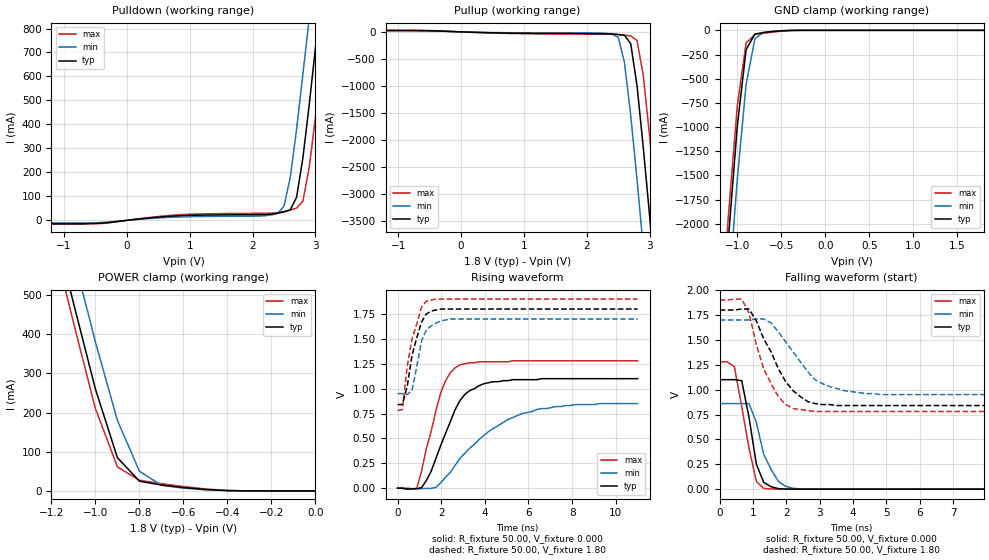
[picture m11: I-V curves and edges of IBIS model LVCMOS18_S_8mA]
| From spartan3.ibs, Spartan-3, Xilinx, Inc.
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|** Model LVCMOS18_S_8mA
[Model]   LVCMOS18_S_8mA
Model_type   I/O
Polarity   Non-Inverting
Enable   Active-Low
Vinl =   0.54V
Vinh =   1.26V
Vmeas =   0.90V
Cref =  0.000F
Rref =   1.00M
Vref =  0.000V
C_comp   6.38pF   4.60pF   8.23pF
[Temperature Range]   25.00   85.00   0.000
[Voltage Range]   1.80V   1.70V   1.90V
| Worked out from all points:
|   slope of the pulldown table from 0 to 0.27 V, typ, clamps not added: 34.7 ohm
|   slope of the pullup table from 0 to 0.27 V, typ, clamps not added: 26.1 ohm
|   GND clamp passes 1 mA (typ) near -0.38 V on its own axis
|   POWER clamp passes 1 mA (typ) near -0.41 V on its own axis
|   rising waveform, R_fixture 50.00, V_fixture 0.000: 20-80 % time 1.24ns typ, 2.54ns min, 915ps max; typ from 0 V to 1.1 V
|   rising waveform, R_fixture 50.00, V_fixture 1.80: 20-80 % time 566ps typ, 470ps min, 584ps max; typ from 0.84 V to 1.8 V
|   falling waveform, R_fixture 50.00, V_fixture 0.000: 20-80 % time 352ps typ, 511ps min, 429ps max; typ from 1.1 V to 0 V
|   falling waveform, R_fixture 50.00, V_fixture 1.80: 20-80 % time 897ps typ, 1.03ns min, 690ps max; typ from 1.8 V to 0.84 V
[Pulldown]
| voltage   I(typ)   I(min)   I(max)
-1.8V     -14.4mA    -11.11mA   -15.51mA
-400mV    -11.62mA   -8.96mA    -12.95mA
2.4V      29.74mA    29.21mA    31.96mA
2.5V      35.49mA    59.53mA    36.62mA
2.6V      44.24mA    180mA      43.17mA
2.7V      96.69mA    380mA      51.3mA
2.8V      260mA      610mA      79.94mA
2.9V      480mA      840mA      220mA
3V        720mA      1.09A      430mA
3.1V      960mA      1.34A      670mA
3.2V      1.21A      1.59A      910mA
3.6V      2.24A      2.62A      1.93A
[Pullup]
| voltage   I(typ)   I(min)   I(max)
-1.8V     25.46mA    18.72mA    29.49mA
-700mV    24.56mA    18.72mA    27.81mA
2.4V      -39.19mA   -38.11mA   -46.25mA
2.5V      -47.5mA    -100mA     -52.68mA
2.6V      -62.32mA   -570mA     -62.42mA
2.7V      -220mA     -1.55A     -75.3mA
2.8V      -1A        -2.74A     -160mA
2.9V      -2.15A     -4.01A     -810mA
3V        -3.41A     -5.33A     -1.93A
3.1V      -4.74A     -6.68A     -3.18A
3.2V      -6.09A     -8.04A     -4.51A
3.6V      -11.64A    -13.6A     -10.02A
[GND_clamp]
| voltage   I(typ)   I(min)   I(max)
-1.8V     -11.64A    -12.2A     -11.42A
-1.2V     -3.41A     -4.01A     -3.17A
-1.1V     -2.14A     -2.73A     -1.9A
-1V       -990mA     -1.54A     -780mA
-900mV    -200mA     -560mA     -130mA
-800mV    -38.28mA   -87.34mA   -44.15mA
-700mV    -22.51mA   -20.43mA   -30.18mA
-500mV    -5.32mA    -4.04mA    -8.92mA
-300mV    -110uA     -120uA     -320uA
1.8V      11.81nA    570nA      13.19nA
[POWER_clamp]
| voltage   I(typ)   I(min)   I(max)
-1.8V     2.23A      2.36A      2.19A
-1.2V     710mA      840mA      660mA
-1.1V     480mA      600mA      430mA
-1V       260mA      380mA      210mA
-900mV    84.79mA    180mA      61.18mA
-800mV    24.88mA    50.29mA    27.26mA
-700mV    15.03mA    14.55mA    18.43mA
-600mV    8.66mA     7.1mA      11.09mA
-400mV    790uA      730uA      1.23mA
0V        11.81nA    57.46nA    17.4nA
[Ramp]
| variable   typ   min   max
dV/dt_r   0.66/1.34n   0.51/2.61n   0.77/0.84n
dV/dt_f   0.58/0.82n   0.45/1.17n   0.67/0.65n
R_load = 50.00
[Rising Waveform]
R_fixture = 50.00
V_fixture = 0.000
| time   V(typ)   V(min)   V(max)
0s        0V         1.72uV     0V
880ps     -4.54mV    -8.08mV    -1.81mV
1.32ns    77.03mV    -2mV       400mV
1.98ns    430mV      55.11mV    960mV
2.42ns    670mV      160mV      1.16V
2.86ns    880mV      300mV      1.24V
3.96ns    1.05V      530mV      1.27V
5.72ns    1.09V      750mV      1.28V
8.14ns    1.1V       840mV      1.28V
11ns      1.1V       850mV      1.28V
[Rising Waveform]
R_fixture = 50.00
V_fixture = 1.80
V_fixture_min = 1.70
V_fixture_max = 1.90
| time   V(typ)   V(min)   V(max)
0s        840mV      950mV      780mV
220ps     840mV      950mV      790mV
440ps     1.02V      940mV      1.22V
660ps     1.33V      980mV      1.5V
880ps     1.51V      1.22V      1.65V
1.1ns     1.67V      1.48V      1.82V
1.32ns    1.75V      1.59V      1.88V
1.76ns    1.79V      1.66V      1.9V
2.42ns    1.8V       1.7V       1.9V
11ns      1.8V       1.7V       1.9V
[Falling Waveform]
R_fixture = 50.00
V_fixture = 0.000
| time   V(typ)   V(min)   V(max)
0s        1.1V       860mV      1.28V
220ps     1.1V       860mV      1.28V
440ps     1.1V       860mV      1.23V
660ps     1.09V      860mV      830mV
880ps     720mV      860mV      410mV
1.1ns     250mV      670mV      78.03mV
1.32ns    69.45mV    350mV      7.18mV
1.76ns    5.17mV     78.25mV    680uV
2.2ns     590uV      8.81mV     220uV
11ns      0V         1.51uV     190nV
[Falling Waveform]
R_fixture = 50.00
V_fixture = 1.80
V_fixture_min = 1.70
V_fixture_max = 1.90
| time   V(typ)   V(min)   V(max)
0s        1.8V       1.7V       1.9V
660ps     1.81V      1.7V       1.91V
880ps     1.81V      1.7V       1.77V
1.1ns     1.69V      1.71V      1.45V
1.32ns    1.51V      1.71V      1.21V
1.76ns    1.21V      1.58V      930mV
2.2ns     990mV      1.38V      810mV
2.86ns    860mV      1.1V       780mV
3.74ns    840mV      990mV      780mV
11ns      840mV      950mV      780mV
